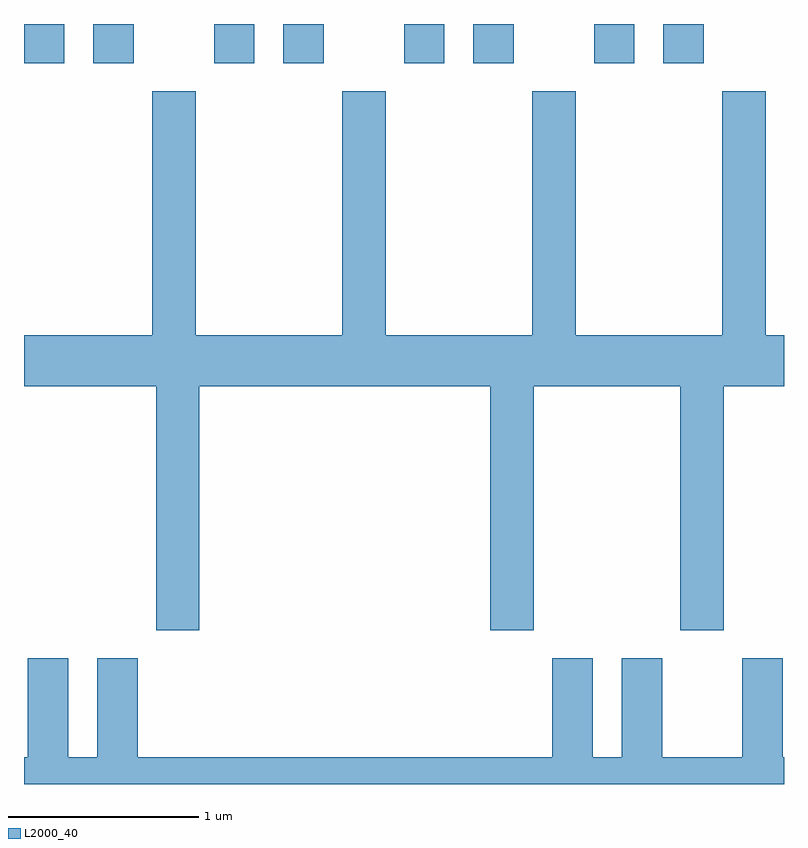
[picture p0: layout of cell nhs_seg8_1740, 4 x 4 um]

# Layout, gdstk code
import gdstk
lib = gdstk.Library(unit=1e-6, precision=1e-09)
def R(c, l, rs):  # rectangles x0, y0, x1, y1
    for r in rs: c.add(gdstk.rectangle(r[:2], r[2:], *l))
def P(c, l, *ps):  # polygons
    for p in ps: c.add(gdstk.Polygon(p, *l))
L2000_40 = (2000, 40)

nhs_seg8_1740 = lib.new_cell('nhs_seg8_1740')
R(nhs_seg8_1740, L2000_40, [(237.611,1818.136,237.824,1818.342), (237.976,1818.136,238.189,1818.342), (238.611,1818.136,238.824,1818.342), (238.976,1818.136,239.189,1818.342), (239.611,1818.136,239.824,1818.342), (239.976,1818.136,240.189,1818.342), (240.611,1818.136,240.824,1818.342), (240.976,1818.136,241.189,1818.342)])
P(nhs_seg8_1740, L2000_40, [(238.534,1816.436),(240.066,1816.436),(240.066,1815.151),(240.294,1815.151),(240.294,1816.436),(241.066,1816.436),(241.066,1815.151),(241.294,1815.151),(241.294,1816.436),(241.611,1816.436),(241.611,1816.704),(241.514,1816.704),(241.514,1817.989),(241.286,1817.989),(241.286,1816.704),(240.514,1816.704),(240.514,1817.989),(240.286,1817.989),(240.286,1816.704),(239.514,1816.704),(239.514,1817.989),(239.286,1817.989),(239.286,1816.704),(238.514,1816.704),(238.514,1817.989),(238.286,1817.989),(238.286,1816.704),(237.611,1816.704),(237.611,1816.436),(238.306,1816.436),(238.306,1815.151),(238.534,1815.151)],
  [(241.611,1814.484),(241.604,1814.484),(241.604,1815.004),(241.391,1815.004),(241.391,1814.484),(240.969,1814.484),(240.969,1815.004),(240.756,1815.004),(240.756,1814.484),(240.604,1814.484),(240.604,1815.004),(240.391,1815.004),(240.391,1814.484),(238.209,1814.484),(238.209,1815.004),(237.996,1815.004),(237.996,1814.484),(237.844,1814.484),(237.844,1815.004),(237.631,1815.004),(237.631,1814.484),(237.611,1814.484),(237.611,1814.342),(241.611,1814.342)])

lib.write_gds('nhs_seg8_1740.gds')
